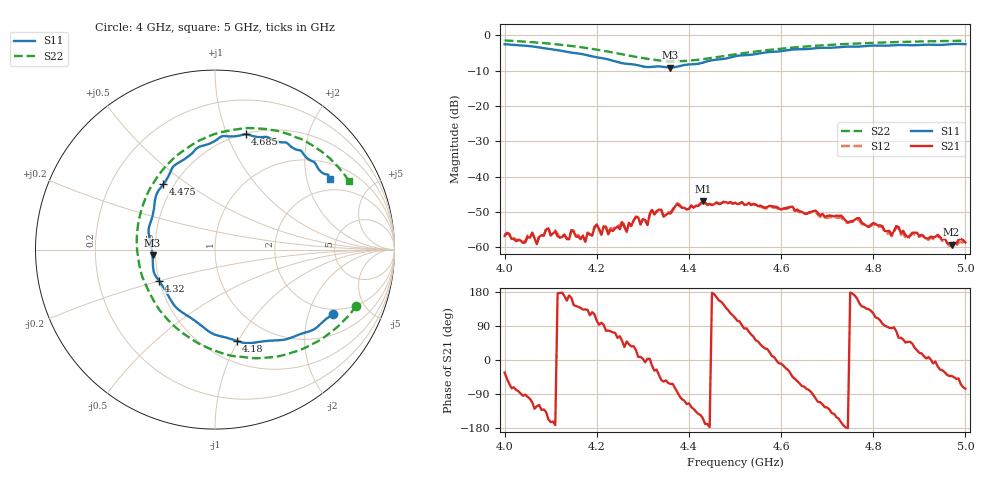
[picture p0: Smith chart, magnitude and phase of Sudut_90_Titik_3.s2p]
# Hz S RI R 50
! CMT, C1220, 16058040, 17.2.0/1
! Date: 15/08/2018 12:38:07
! Data: Format (Calibration Info)
! Freq  S11: Re/Im (F2)  S21: Re/Im (F2)  S12: Re/Im (F2)  S22: Re/Im (F2)
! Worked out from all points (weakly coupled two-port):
!   201 points, 4 GHz to 5 GHz, reference 50 ohm
!   highest |S21| = -46.90 dB at 4.43 GHz (marker M1); lowest = -59.2 dB at 4.97 GHz (marker M2)
!   lowest |S11| = -9.1 dB at 4.36 GHz (marker M3), VSWR 2.08, Z = 24.1 - j1.74 ohm
!   |S11| at or under -10 dB: nowhere
!   |S22| runs from -7.3 to -1.5 dB; largest |S21 - S12| = 0.00021
!   S11 on the Smith chart (normalised r, x): 4 GHz: 1.77, -2.91; 4.18 GHz: 0.70, -0.99; 4.32 GHz: 0.50, -0.20; 4.475 GHz: 0.44, +0.41; 4.685 GHz: 0.51, +1.17; 5 GHz: 1.52, +2.76
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4e9  0.6565 -0.3607  0.00122 -0.000797  0.00128 -0.000775  0.7857 -0.314
4.04e9  0.5753 -0.4261  -8.88e-05 -0.00115  -2.23e-05 -0.0012  0.7101 -0.4031
4.06e9  0.5284 -0.4547  -0.000595 -0.00149  -0.00057 -0.00152  0.6662 -0.4442
4.07e9  0.5017 -0.4623  -0.000587 -0.000945  -0.000609 -0.00097  0.6403 -0.4641
4.095e9  0.4202 -0.4923  -0.00171 -0.000746  -0.0017 -0.000804  0.5715 -0.5117
4.17e9  0.153 -0.5181  -0.00101 0.00108  -0.001 0.00111  0.3031 -0.6008
4.18e9  0.1205 -0.5088  -0.00107 0.00117  -0.00112 0.00118  0.2606 -0.6035
4.255e9  -0.1365 -0.3792  0.00145 0.00175  0.00157 0.00183  -0.0657 -0.5357
4.265e9  -0.1758 -0.3544  0.00109 0.00125  0.00112 0.00128  -0.107 -0.5136
4.285e9  -0.2326 -0.3027  0.00242 0.00118  0.00251 0.0011  -0.1907 -0.4572
4.31e9  -0.2878 -0.2091  0.00208 0.000112  0.00207 0.00013  -0.2792 -0.3723
4.32e9  -0.314 -0.1725  0.00328 -0.000918  0.00338 -0.000957  -0.3119 -0.3327
4.335e9  -0.3414 -0.1236  0.00264 -0.00219  0.00267 -0.00215  -0.351 -0.2669
4.36e9  -0.3482 -0.0317  0.00136 -0.00269  0.00138 -0.00281  -0.4049 -0.1519
4.43e9  -0.3392 0.2302  -0.00403 -0.00204  -0.00398 -0.00189  -0.4179 0.1913
4.475e9  -0.2883 0.3639  -0.00367 0.00242  -0.00368 0.00249  -0.3384 0.3774
4.5e9  -0.2442 0.4421  -0.00157 0.00397  -0.00153 0.00402  -0.2778 0.4605
4.67e9  0.1438 0.6368  -0.000142 -0.00325  -0.000198 -0.00312  0.2085 0.6768
4.685e9  0.1702 0.6429  -0.00104 -0.00265  -0.000982 -0.00251  0.2478 0.6743
4.835e9  0.4499 0.5579  0.000156 0.00171  0.000109 0.00159  0.5515 0.5752
4.97e9  0.6232 0.4192  0.000817 -0.000736  0.000763 -0.00071  0.7194 0.4207
5e9  0.6386 0.3955  0.000285 -0.00114  0.000276 -0.00102  0.7471 0.3814
